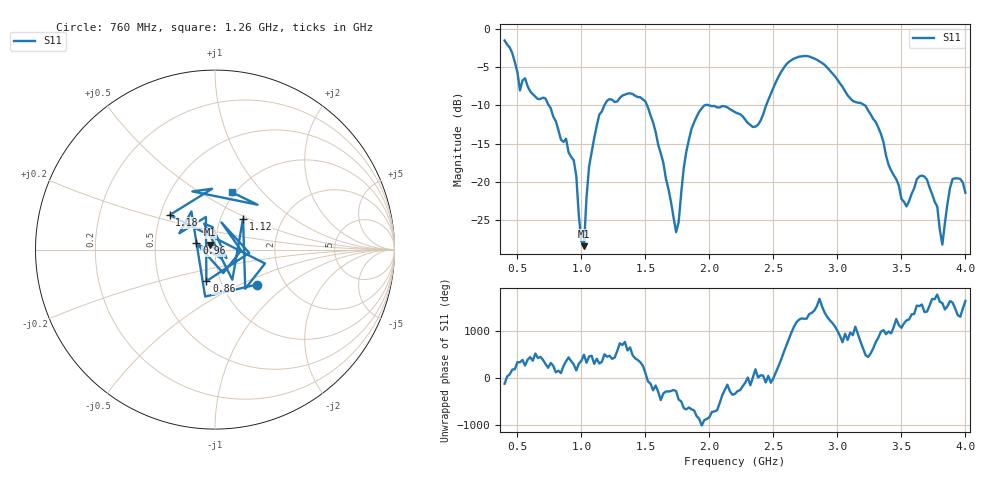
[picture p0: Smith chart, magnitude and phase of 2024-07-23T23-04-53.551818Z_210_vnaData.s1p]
!Created with skrf (http://scikit-rf.org).
# Hz S RI R 50.0
!freq ReS11 ImS11
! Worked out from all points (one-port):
!   181 points, 400 MHz to 4 GHz, reference 50 ohm
!   lowest |S11| = -28.4 dB at 1.02 GHz (marker M1), VSWR 1.08, Z = 47.4 + j2.61 ohm
!   |S11| at or under -10 dB: 1.513 GHz to 1.961 GHz (447.6 MHz wide, 25.8 % of centre); 1.998 GHz to 2.443 GHz (445.4 MHz wide, 20.1 % of centre); 3.216 GHz to end of sweep (the widest 3 of 4)
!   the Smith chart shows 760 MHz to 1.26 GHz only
!   S11 on the Smith chart (normalised r, x): 760 MHz: 1.45, -0.62; 860 MHz: 0.86, -0.31; 960 MHz: 0.81, +0.06; 1.12 GHz: 1.27, +0.47; 1.18 GHz: 0.56, +0.24; 1.26 GHz: 0.96, +0.69
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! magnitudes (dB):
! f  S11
! 400 MHz  -1.5
! 520 MHz  -8.0
! 760 MHz  -10.3
! 860 MHz  -14.8
! 960 MHz  -19.2
! 1 GHz  -27.8
! 1.02 GHz  -28.4
! 1.06 GHz  -18.0
! 1.12 GHz  -12.6
! 1.18 GHz  -10.0
! 1.26 GHz  -9.5
! 1.3 GHz  -9.0
! 1.5 GHz  -9.5
! 1.74 GHz  -26.6
! 1.76 GHz  -25.2
! 1.82 GHz  -16.0
! 1.9 GHz  -11.5
! 2.2 GHz  -10.9
! 2.38 GHz  -12.5
! 2.66 GHz  -3.9
! 3.1 GHz  -9.1
! 3.3 GHz  -12.2
! 3.56 GHz  -22.5
! 3.7 GHz  -19.7
! 3.78 GHz  -23.2
! 3.82 GHz  -28.2
! 3.9 GHz  -19.6
! 4 GHz  -21.4
